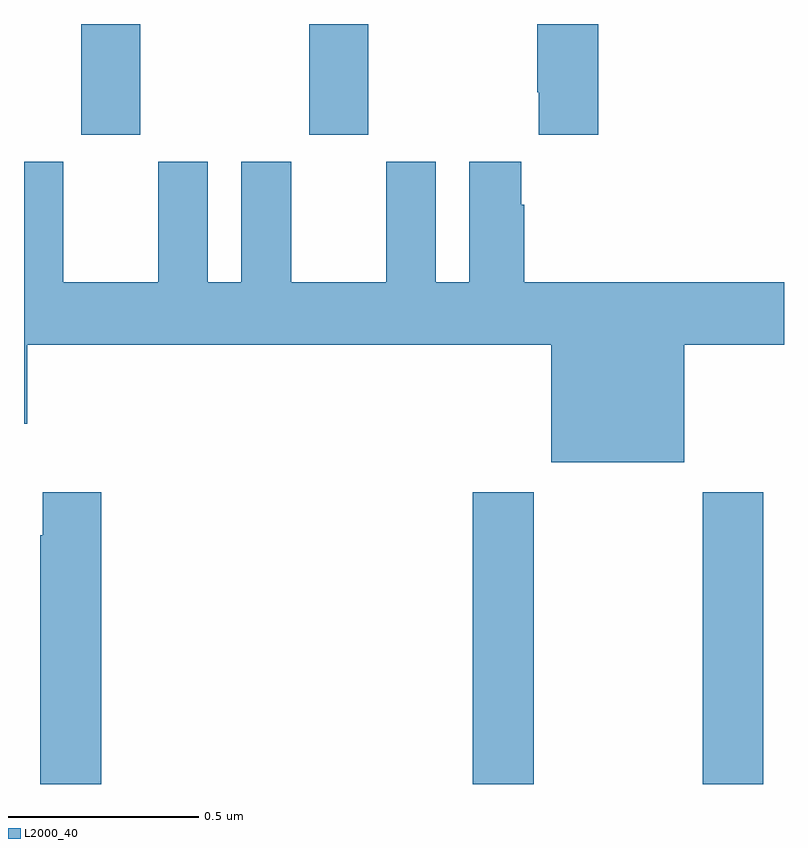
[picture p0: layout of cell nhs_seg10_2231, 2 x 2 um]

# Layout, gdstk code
import gdstk
lib = gdstk.Library(unit=1e-6, precision=1e-09)
def R(c, l, rs):  # rectangles x0, y0, x1, y1
    for r in rs: c.add(gdstk.rectangle(r[:2], r[2:], *l))
def P(c, l, *ps):  # polygons
    for p in ps: c.add(gdstk.Polygon(p, *l))
L2000_40 = (2000, 40)

nhs_seg10_2231 = lib.new_cell('nhs_seg10_2231')
R(nhs_seg10_2231, L2000_40, [(139.181,1292.5,139.341,1293.268), (139.786,1292.5,139.946,1293.268), (138.151,1294.209,138.306,1294.5), (138.751,1294.209,138.906,1294.5)])
P(nhs_seg10_2231, L2000_40, [(139.511,1294.5),(139.351,1294.5),(139.351,1294.321),(139.355,1294.321),(139.355,1294.209),(139.511,1294.209)],
  [(139.738,1293.656),(140,1293.656),(140,1293.82),(139.316,1293.82),(139.316,1294.025),(139.309,1294.025),(139.309,1294.138),(139.172,1294.138),(139.172,1293.82),(139.084,1293.82),(139.084,1294.138),(138.953,1294.138),(138.953,1293.82),(138.703,1293.82),(138.703,1294.138),(138.572,1294.138),(138.572,1293.82),(138.484,1293.82),(138.484,1294.138),(138.353,1294.138),(138.353,1293.82),(138.103,1293.82),(138.103,1294.138),(138,1294.138),(138,1293.448),(138.008,1293.448),(138.008,1293.656),(139.388,1293.656),(139.388,1293.347),(139.738,1293.347)],
  [(138.203,1293.268),(138.049,1293.268),(138.049,1293.155),(138.043,1293.155),(138.043,1292.5),(138.203,1292.5)])

lib.write_gds('nhs_seg10_2231.gds')
